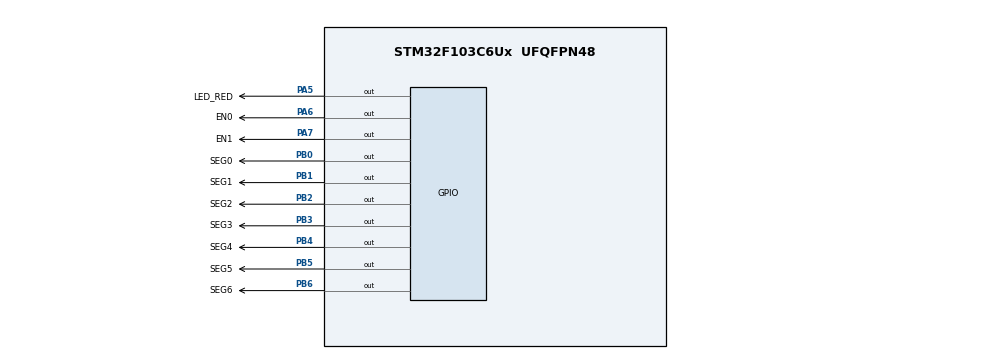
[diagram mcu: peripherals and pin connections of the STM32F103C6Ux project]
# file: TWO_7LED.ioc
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Mcu.Family=STM32F1
Mcu.Name=STM32F103C6Ux
Mcu.Package=UFQFPN48
NVIC.PriorityGroup=NVIC_PRIORITYGROUP_4
NVIC.TIM2_IRQn=true\:0\:0\:false\:false\:true\:true\:true
PA5.GPIO_Label=LED_RED
PA5.Signal=GPIO_Output
PA6.GPIO_Label=EN0
PA6.Signal=GPIO_Output
PA7.GPIO_Label=EN1
PA7.Signal=GPIO_Output
PB0.GPIO_Label=SEG0
PB0.Signal=GPIO_Output
PB1.GPIO_Label=SEG1
PB1.Signal=GPIO_Output
PB2.GPIO_Label=SEG2
PB2.Signal=GPIO_Output
PB3.GPIO_Label=SEG3
PB3.Signal=GPIO_Output
PB4.GPIO_Label=SEG4
PB4.Signal=GPIO_Output
PB5.GPIO_Label=SEG5
PB5.Signal=GPIO_Output
PB6.GPIO_Label=SEG6
PB6.Signal=GPIO_Output
ProjectManager.HeapSize=0x200
ProjectManager.StackSize=0x400
ProjectManager.TargetToolchain=STM32CubeIDE
RCC.APB1Freq_Value=8000000
RCC.APB2Freq_Value=8000000
TIM2.Period=9
TIM2.Prescaler=7999
VP_SYS_VS_ND.Mode=No_Debug
VP_TIM2_VS_ClockSourceINT.Mode=Internal
board=custom

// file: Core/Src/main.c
/* USER CODE BEGIN Header */
/**
  ******************************************************************************
  * @file           : main.c
  * @brief          : Main program body
  ******************************************************************************
  * @attention
  *
  * <h2><center>&copy; Copyright (c) 2022 STMicroelectronics.
  * All rights reserved.</center></h2>
  *
  * This software component is licensed by ST under BSD 3-Clause license,
  * the "License"; You may not use this file except in compliance with the
  * License. You may obtain a copy of the License at:
  *                        opensource.org/licenses/BSD-3-Clause
  *
  ******************************************************************************
  */
/* USER CODE END Header */
#include "main.h"

/* USER CODE BEGIN Includes */
#include "software_timer.h"
/* USER CODE END Includes */

TIM_HandleTypeDef htim2;

void SystemClock_Config(void);
static void MX_GPIO_Init(void);
static void MX_TIM2_Init(void);

int main(void)
{

  /* MCU Configuration--------------------------------------------------------*/

  /* Reset of all peripherals, Initializes the Flash interface and the Systick. */
  HAL_Init();

  /* Configure the system clock */
  SystemClock_Config();

  /* Initialize all configured peripherals */
  MX_GPIO_Init();
  MX_TIM2_Init();
  /* USER CODE BEGIN 2 */
  HAL_TIM_Base_Start_IT (& htim2 ) ;

  /* USER CODE END 2 */

  /* Infinite loop */
  while (1)
  {

  }
}

void SystemClock_Config(void)
{
  RCC_OscInitTypeDef RCC_OscInitStruct = {0};
  RCC_ClkInitTypeDef RCC_ClkInitStruct = {0};

  /** Initializes the RCC Oscillators according to the specified parameters
  * in the RCC_OscInitTypeDef structure.
  */
  RCC_OscInitStruct.OscillatorType = RCC_OSCILLATORTYPE_HSI;
  RCC_OscInitStruct.HSIState = RCC_HSI_ON;
  RCC_OscInitStruct.HSICalibrationValue = RCC_HSICALIBRATION_DEFAULT;
  RCC_OscInitStruct.PLL.PLLState = RCC_PLL_NONE;
  if (HAL_RCC_OscConfig(&RCC_OscInitStruct) != HAL_OK)
  {
    Error_Handler();
  }
  /** Initializes the CPU, AHB and APB buses clocks
  */
  RCC_ClkInitStruct.ClockType = RCC_CLOCKTYPE_HCLK|RCC_CLOCKTYPE_SYSCLK
                              |RCC_CLOCKTYPE_PCLK1|RCC_CLOCKTYPE_PCLK2;
  RCC_ClkInitStruct.SYSCLKSource = RCC_SYSCLKSOURCE_HSI;
  RCC_ClkInitStruct.AHBCLKDivider = RCC_SYSCLK_DIV1;
  RCC_ClkInitStruct.APB1CLKDivider = RCC_HCLK_DIV1;
  RCC_ClkInitStruct.APB2CLKDivider = RCC_HCLK_DIV1;

  if (HAL_RCC_ClockConfig(&RCC_ClkInitStruct, FLASH_LATENCY_0) != HAL_OK)
  {
    Error_Handler();
  }
}

static void MX_TIM2_Init(void)
{

  TIM_ClockConfigTypeDef sClockSourceConfig = {0};
  TIM_MasterConfigTypeDef sMasterConfig = {0};

  htim2.Instance = TIM2;
  htim2.Init.Prescaler = 7999;
  htim2.Init.CounterMode = TIM_COUNTERMODE_UP;
  htim2.Init.Period = 9;
  htim2.Init.ClockDivision = TIM_CLOCKDIVISION_DIV1;
  htim2.Init.AutoReloadPreload = TIM_AUTORELOAD_PRELOAD_DISABLE;
  if (HAL_TIM_Base_Init(&htim2) != HAL_OK)
  {
    Error_Handler();
  }
  sClockSourceConfig.ClockSource = TIM_CLOCKSOURCE_INTERNAL;
  if (HAL_TIM_ConfigClockSource(&htim2, &sClockSourceConfig) != HAL_OK)
  {
    Error_Handler();
  }
  sMasterConfig.MasterOutputTrigger = TIM_TRGO_RESET;
  sMasterConfig.MasterSlaveMode = TIM_MASTERSLAVEMODE_DISABLE;
  if (HAL_TIMEx_MasterConfigSynchronization(&htim2, &sMasterConfig) != HAL_OK)
  {
    Error_Handler();
  }

}

static void MX_GPIO_Init(void)
{
  GPIO_InitTypeDef GPIO_InitStruct = {0};

  /* GPIO Ports Clock Enable */
  __HAL_RCC_GPIOA_CLK_ENABLE();
  __HAL_RCC_GPIOB_CLK_ENABLE();

  /*Configure GPIO pin Output Level */
  HAL_GPIO_WritePin(GPIOA, LED_RED_Pin|EN0_Pin|EN1_Pin, GPIO_PIN_RESET);

  /*Configure GPIO pin Output Level */
  HAL_GPIO_WritePin(GPIOB, SEG0_Pin|SEG1_Pin|SEG2_Pin|SEG3_Pin
                          |SEG4_Pin|SEG5_Pin|SEG6_Pin, GPIO_PIN_RESET);

  /*Configure GPIO pins : LED_RED_Pin EN0_Pin EN1_Pin */
  GPIO_InitStruct.Pin = LED_RED_Pin|EN0_Pin|EN1_Pin;
  GPIO_InitStruct.Mode = GPIO_MODE_OUTPUT_PP;
  GPIO_InitStruct.Pull = GPIO_NOPULL;
  GPIO_InitStruct.Speed = GPIO_SPEED_FREQ_LOW;
  HAL_GPIO_Init(GPIOA, &GPIO_InitStruct);

  /*Configure GPIO pins : SEG0_Pin SEG1_Pin SEG2_Pin SEG3_Pin
                           SEG4_Pin SEG5_Pin SEG6_Pin */
  GPIO_InitStruct.Pin = SEG0_Pin|SEG1_Pin|SEG2_Pin|SEG3_Pin
                          |SEG4_Pin|SEG5_Pin|SEG6_Pin;
  GPIO_InitStruct.Mode = GPIO_MODE_OUTPUT_PP;
  GPIO_InitStruct.Pull = GPIO_NOPULL;
  GPIO_InitStruct.Speed = GPIO_SPEED_FREQ_LOW;
  HAL_GPIO_Init(GPIOB, &GPIO_InitStruct);

}

/* USER CODE BEGIN 4 */
void display7SEG(int num){
  	if(num == 0){
  		HAL_GPIO_WritePin(SEG0_GPIO_Port, SEG0_Pin, RESET);
  		HAL_GPIO_WritePin(SEG1_GPIO_Port, SEG1_Pin, RESET);
  		HAL_GPIO_WritePin(SEG2_GPIO_Port, SEG2_Pin, RESET);
  		HAL_GPIO_WritePin(SEG3_GPIO_Port, SEG3_Pin, RESET);
  		HAL_GPIO_WritePin(SEG4_GPIO_Port, SEG4_Pin, RESET);
  		HAL_GPIO_WritePin(SEG5_GPIO_Port, SEG5_Pin, RESET);
  		HAL_GPIO_WritePin(SEG6_GPIO_Port, SEG6_Pin, SET);
  	}
  	else if(num == 1){
  		HAL_GPIO_WritePin(SEG0_GPIO_Port, SEG0_Pin, SET);
  		HAL_GPIO_WritePin(SEG1_GPIO_Port, SEG1_Pin, RESET);
  		HAL_GPIO_WritePin(SEG2_GPIO_Port, SEG2_Pin, RESET);
  		HAL_GPIO_WritePin(SEG3_GPIO_Port, SEG3_Pin, SET);
  		HAL_GPIO_WritePin(SEG4_GPIO_Port, SEG4_Pin, SET);
  		HAL_GPIO_WritePin(SEG5_GPIO_Port, SEG5_Pin, SET);
  		HAL_GPIO_WritePin(SEG6_GPIO_Port, SEG6_Pin, SET);
  	}
  	else if(num == 2){
  		HAL_GPIO_WritePin(SEG0_GPIO_Port, SEG0_Pin, RESET);
  		HAL_GPIO_WritePin(SEG1_GPIO_Port, SEG1_Pin, RESET);
  		HAL_GPIO_WritePin(SEG2_GPIO_Port, SEG2_Pin, SET);
  		HAL_GPIO_WritePin(SEG3_GPIO_Port, SEG3_Pin, RESET);
  		HAL_GPIO_WritePin(SEG4_GPIO_Port, SEG4_Pin, RESET);
  		HAL_GPIO_WritePin(SEG5_GPIO_Port, SEG5_Pin, SET);
  		HAL_GPIO_WritePin(SEG6_GPIO_Port, SEG6_Pin, RESET);
  	}
  	else if(num == 3){
  		HAL_GPIO_WritePin(SEG0_GPIO_Port, SEG0_Pin, RESET);
  		HAL_GPIO_WritePin(SEG1_GPIO_Port, SEG1_Pin, RESET);
  		HAL_GPIO_WritePin(SEG2_GPIO_Port, SEG2_Pin, RESET);
  		HAL_GPIO_WritePin(SEG3_GPIO_Port, SEG3_Pin, RESET);
  		HAL_GPIO_WritePin(SEG4_GPIO_Port, SEG4_Pin, SET);
  		HAL_GPIO_WritePin(SEG5_GPIO_Port, SEG5_Pin, SET);
  		HAL_GPIO_WritePin(SEG6_GPIO_Port, SEG6_Pin, RESET);
  	}
  	else if(num == 4){
  		HAL_GPIO_WritePin(SEG0_GPIO_Port, SEG0_Pin, SET);
  		HAL_GPIO_WritePin(SEG1_GPIO_Port, SEG1_Pin, RESET);
  		HAL_GPIO_WritePin(SEG2_GPIO_Port, SEG2_Pin, RESET);
  		HAL_GPIO_WritePin(SEG3_GPIO_Port, SEG3_Pin, SET);
  		HAL_GPIO_WritePin(SEG4_GPIO_Port, SEG4_Pin, SET);
  		HAL_GPIO_WritePin(SEG5_GPIO_Port, SEG5_Pin, RESET);
  		HAL_GPIO_WritePin(SEG6_GPIO_Port, SEG6_Pin, RESET);
  	}
  	else if(num == 5){
  		HAL_GPIO_WritePin(SEG0_GPIO_Port, SEG0_Pin, RESET);
  		HAL_GPIO_WritePin(SEG1_GPIO_Port, SEG1_Pin, SET);
  		HAL_GPIO_WritePin(SEG2_GPIO_Port, SEG2_Pin, RESET);
  		HAL_GPIO_WritePin(SEG3_GPIO_Port, SEG3_Pin, RESET);
  		HAL_GPIO_WritePin(SEG4_GPIO_Port, SEG4_Pin, SET);
  		HAL_GPIO_WritePin(SEG5_GPIO_Port, SEG5_Pin, RESET);
  		HAL_GPIO_WritePin(SEG6_GPIO_Port, SEG6_Pin, RESET);
  	}
  	else if(num == 6){
  		HAL_GPIO_WritePin(SEG0_GPIO_Port, SEG0_Pin, RESET);
  		HAL_GPIO_WritePin(SEG1_GPIO_Port, SEG1_Pin, SET);
  		HAL_GPIO_WritePin(SEG2_GPIO_Port, SEG2_Pin, RESET);
  		HAL_GPIO_WritePin(SEG3_GPIO_Port, SEG3_Pin, RESET);
  		HAL_GPIO_WritePin(SEG4_GPIO_Port, SEG4_Pin, RESET);
  		HAL_GPIO_WritePin(SEG5_GPIO_Port, SEG5_Pin, RESET);
  		HAL_GPIO_WritePin(SEG6_GPIO_Port, SEG6_Pin, RESET);
  	}
  	else if(num == 7){
  		HAL_GPIO_WritePin(SEG0_GPIO_Port, SEG0_Pin, RESET);
  		HAL_GPIO_WritePin(SEG1_GPIO_Port, SEG1_Pin, RESET);
  		HAL_GPIO_WritePin(SEG2_GPIO_Port, SEG2_Pin, RESET);
  		HAL_GPIO_WritePin(SEG3_GPIO_Port, SEG3_Pin, SET);
  		HAL_GPIO_WritePin(SEG4_GPIO_Port, SEG4_Pin, SET);
  		HAL_GPIO_WritePin(SEG5_GPIO_Port, SEG5_Pin, SET);
  		HAL_GPIO_WritePin(SEG6_GPIO_Port, SEG6_Pin, SET);
  	}
  	else if(num == 8){
  		HAL_GPIO_WritePin(SEG0_GPIO_Port, SEG0_Pin, RESET);
  		HAL_GPIO_WritePin(SEG1_GPIO_Port, SEG1_Pin, RESET);
  		HAL_GPIO_WritePin(SEG2_GPIO_Port, SEG2_Pin, RESET);
  		HAL_GPIO_WritePin(SEG3_GPIO_Port, SEG3_Pin, RESET);
  		HAL_GPIO_WritePin(SEG4_GPIO_Port, SEG4_Pin, RESET);
  		HAL_GPIO_WritePin(SEG5_GPIO_Port, SEG5_Pin, RESET);
  		HAL_GPIO_WritePin(SEG6_GPIO_Port, SEG6_Pin, RESET);
  	}
  	else if(num == 9){
  		HAL_GPIO_WritePin(SEG0_GPIO_Port, SEG0_Pin, RESET);
  		HAL_GPIO_WritePin(SEG1_GPIO_Port, SEG1_Pin, RESET);
  		HAL_GPIO_WritePin(SEG2_GPIO_Port, SEG2_Pin, RESET);
  		HAL_GPIO_WritePin(SEG3_GPIO_Port, SEG3_Pin, RESET);
  		HAL_GPIO_WritePin(SEG4_GPIO_Port, SEG4_Pin, SET);
  		HAL_GPIO_WritePin(SEG5_GPIO_Port, SEG5_Pin, RESET);
  		HAL_GPIO_WritePin(SEG6_GPIO_Port, SEG6_Pin, RESET);
  	}
  }
int counter1 = 50;
int counter2 = 100;
void HAL_TIM_PeriodElapsedCallback ( TIM_HandleTypeDef * htim ){
counter1--;
counter2--;
if( counter1 <= 0 && counter2 != 0) {
counter1 = 50;
HAL_GPIO_WritePin(EN1_GPIO_Port, EN1_Pin, SET);
HAL_GPIO_WritePin(EN0_GPIO_Port, EN0_Pin, RESET);
display7SEG(1);
}
else if(counter1 <= 0 && counter2 <= 0){
counter1 = 50;
counter2 = 100;
HAL_GPIO_WritePin(EN1_GPIO_Port, EN1_Pin, RESET);
HAL_GPIO_WritePin(EN0_GPIO_Port, EN0_Pin, SET);
display7SEG(2);
}

}

/* USER CODE END 4 */

void Error_Handler(void)
{
  __disable_irq();
  while (1)
  {
  }
}

/************************ (C) COPYRIGHT STMicroelectronics *****END OF FILE****/
